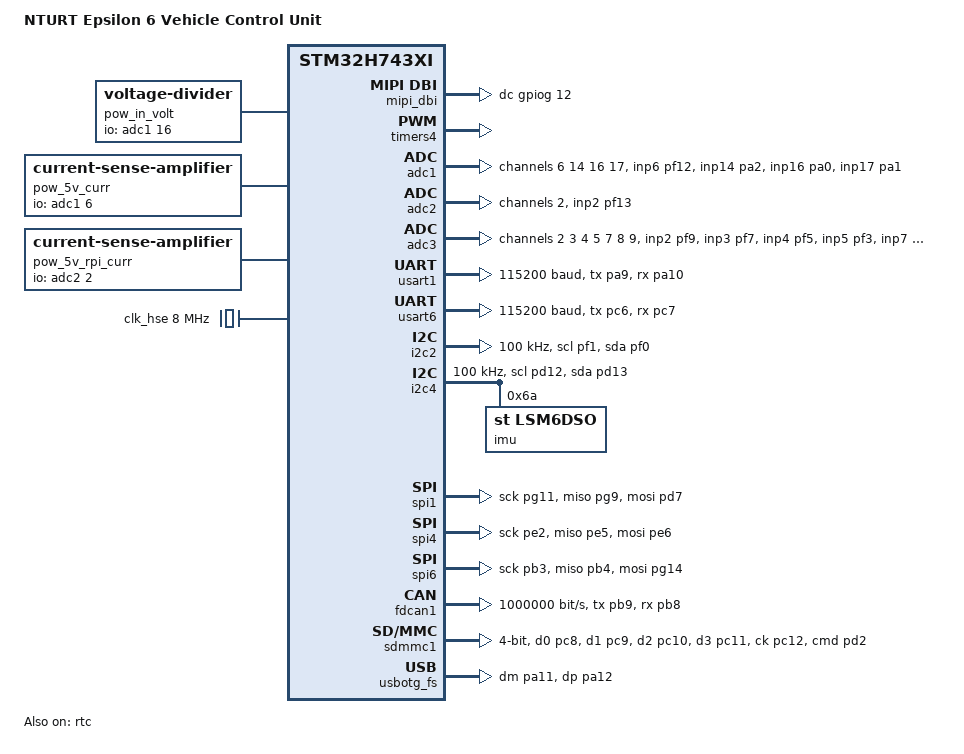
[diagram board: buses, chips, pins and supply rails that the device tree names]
/dts-v1/;
#include <st/h7/stm32h743Xi.dtsi>
#include <st/h7/stm32h743zitx-pinctrl.dtsi>
#include <zephyr/dt-bindings/input/input-event-codes.h>

/ {
    model = "NTURT Epsilon 6 Vehicle Control Unit";
    compatible = "nturt,ep6_vcu";

    chosen {
        zephyr,console = &usart1;
        zephyr,shell-uart = &usart1;
        // zephyr,console = &cdc_acm_uart0;
        // zephyr,shell-uart = &cdc_acm_uart0;
        zephyr,sram = &sram0;
        zephyr,flash = &flash0;
        zephyr,dtcm = &dtcm;
        zephyr,code-partition = &slot0_partition;
        zephyr,canbus = &fdcan1;
        zephyr,canopen-green-led = &canopen_green_led;
        zephyr,canopen-red-led = &canopen_red_led;

        nturt,rtc = &rtc;
        nturt,buzzer = &buzzer;
        nturt,brake-light = &brake_light;
        nturt,rtd-light = &rtd_light;
        nturt,imu = &imu;
        nturt,pow-in-volt = &pow_in_volt;
        nturt,pow-5v-curr = &pow_5v_curr;
        nturt,pow-5v-rpi-curr = &pow_5v_rpi_curr;
        nturt,pow-low = &pow_low;
    };

    aliases {
        led0 = &canopen_green_led;
    };

    mipi_dbi: mipi-dbi-spi {
        compatible = "zephyr,mipi-dbi-spi";
        spi-dev = <&spi1>;
        dc-gpios = <&gpiog 12 GPIO_ACTIVE_HIGH>;
        write-only;
        #address-cells = <1>;
        #size-cells = <0>;
    };

    // dummy only to expose node properties to the device tree
    dummy_leds: dummy-leds {
        compatible = "gpio-leds";
        status = "disabled";

        buzzer: buzzer {
            gpios = <&gpiof 2 GPIO_ACTIVE_HIGH>;
        };

        brake_light: brake-light {
            gpios = <&gpioa 7 GPIO_ACTIVE_HIGH>;
        };

        rtd_light: rtd-light {
            gpios = <&gpiod 9 GPIO_ACTIVE_HIGH>;
        };

        canopen_green_led: canopen-green-led {
            gpios = <&gpioe 0 (GPIO_ACTIVE_LOW | GPIO_OPEN_DRAIN)>;
        };

        canopen_red_led: canopen-red-led {
            gpios = <&gpioe 1 (GPIO_ACTIVE_LOW | GPIO_OPEN_DRAIN)>;
        };
    };

    // dummy only to expose node properties to the device tree
    dummy_buttons: dummy-buttons {
        compatible = "gpio-keys";
        status = "disabled";

        apps_micro: apps-micro {
            gpios = <&gpiof 10 (GPIO_ACTIVE_LOW | GPIO_PULL_UP)>;
            zephyr,code = <INPUT_KEY_0>;
        };

        pow_low: pow-low {
            gpios = <&gpioc 13 (GPIO_ACTIVE_LOW | GPIO_PULL_UP)>;
            zephyr,code = <INPUT_KEY_0>;
        };
    };

    pow_in_volt: pow-in-volt {
        compatible = "voltage-divider";
        io-channels = <&adc1 16>;
        full-ohms = <(49900 + 5600)>;
        output-ohms = <5600>;
    };

    pow_5v_curr: pow-5v-curr {
        compatible = "current-sense-amplifier";
        io-channels = <&adc1 6>;
        sense-resistor-milli-ohms = <10>;
        sense-gain-mult = <100>;
    };

    pow_5v_rpi_curr: pow-5v-rpi-curr {
        compatible = "current-sense-amplifier";
        io-channels = <&adc2 2>;
        sense-resistor-milli-ohms = <10>;
        sense-gain-mult = <100>;
    };

    otghs_ulpi_phy: otghs-ulpi-phy {
        compatible = "usb-ulpi-phy";
        #phy-cells = <0>;
        status = "disabled";
    };
};

// include here for them to reference the added nodes above
#include "dashboard.dtsi"
#include "sensors.dtsi"

&clk_lsi {
    status = "okay";
};

&clk_csi {
    status = "okay";
};

&clk_hsi48 {
    status = "okay";
};

&clk_hse {
    clock-frequency = <DT_FREQ_M(8)>;
    status = "okay";
};

&clk_lse {
    status = "okay";
};

&pll {
    div-m = <2>;
    mul-n = <240>;
    div-p = <2>;
    div-q = <20>;
    div-r = <2>;
    clocks = <&clk_hse>;
    status = "okay";
};

&pll2 {
    div-m = <2>;
    mul-n = <200>;
    div-p = <2>;
    div-q = <20>;
    div-r = <4>;
    clocks = <&clk_hse>;
    status = "okay";
};

&pll3 {
    div-m = <2>;
    mul-n = <128>;
    div-p = <8>;
    div-q = <8>;
    div-r = <8>;
    clocks = <&clk_hse>;
    status = "okay";
};

&rcc {
    clocks = <&pll>;
    clock-frequency = <DT_FREQ_M(480)>;
    d1cpre = <1>;
    hpre = <2>;
    d1ppre = <2>;
    d2ppre1 = <2>;
    d2ppre2 = <2>;
    d3ppre = <2>;
};

&backup_sram {
    status = "okay";
};

&flash0 {
    partitions {
        compatible = "fixed-partitions";
        #address-cells = <1>;
        #size-cells = <1>;

        // bootloader: 128KB
        boot_partition: partition@0 {
            label = "mcuboot";
            reg = <0x00000000 DT_SIZE_K(128)>;
            read-only;
        };

        // application image slot: 768KB
        slot0_partition: partition@20000 {
            label = "image-0";
            reg = <0x00020000 DT_SIZE_K(768)>;
        };

        // backup slot: 768KB
        slot1_partition: partition@100000 {
            label = "image-1";
            reg = <0x00100000 DT_SIZE_K(768)>;
        };

        // swap slot: 128KB
        scratch_partition: partition@1E0000 {
            label = "image-scratch";
            reg = <0x001e0000 DT_SIZE_K(128)>;
        };
    };
};

&dma1 {
    status = "okay";
};

&dma2 {
    status = "okay";
};

&dmamux1 {
    status = "okay";
};

// 16-bit APB1 timers at 240MHz, 10us resolution, 100 steps with 1ms period PWM
&timers4 {
    st,prescaler = <(2400 - 1)>;
    status = "okay";

    pwm4: pwm {
        pinctrl-0 = <&tim4_ch1_pb6 &tim4_ch2_pb7>;
        pinctrl-names = "default";
        status = "okay";
    };
};

&rtc {
    clocks = <&rcc STM32_CLOCK_BUS_APB4 0x00010000>,
             <&rcc STM32_SRC_LSE RTC_SEL(1)>;
    status = "okay";
};

// sync clock from PLL3_R at 64MHz, 4us sampling time with 4 oversampling
&adc1 {
    clocks = <&rcc STM32_CLOCK_BUS_AHB1 0x00000020>,
             <&rcc STM32_SRC_PLL3_R ADC_SEL(1)>;
    pinctrl-0 = <&adc1_inp6_pf12 &adc1_inp14_pa2 &adc1_inp16_pa0 &adc1_inp17_pa1>;
    pinctrl-names = "default";
    st,adc-clock-source = "SYNC";
    st,adc-prescaler = <4>;
    #address-cells = <1>;
    #size-cells = <0>;
    status = "okay";

    channel@6 {
        reg = <6>;
        zephyr,gain = "ADC_GAIN_1";
        zephyr,reference = "ADC_REF_INTERNAL";
        zephyr,acquisition-time = <ADC_ACQ_TIME(ADC_ACQ_TIME_TICKS, 65)>;
        zephyr,resolution = <16>;
        zephyr,oversampling = <2>;
    };

    channel@e {
        reg = <14>;
        zephyr,gain = "ADC_GAIN_1";
        zephyr,reference = "ADC_REF_INTERNAL";
        zephyr,acquisition-time = <ADC_ACQ_TIME(ADC_ACQ_TIME_TICKS, 65)>;
        zephyr,resolution = <16>;
        zephyr,oversampling = <2>;
    };

    channel@10 {
        reg = <16>;
        zephyr,gain = "ADC_GAIN_1";
        zephyr,reference = "ADC_REF_INTERNAL";
        zephyr,acquisition-time = <ADC_ACQ_TIME(ADC_ACQ_TIME_TICKS, 65)>;
        zephyr,resolution = <16>;
        zephyr,oversampling = <2>;
    };

    channel@11 {
        reg = <17>;
        zephyr,gain = "ADC_GAIN_1";
        zephyr,reference = "ADC_REF_INTERNAL";
        zephyr,acquisition-time = <ADC_ACQ_TIME(ADC_ACQ_TIME_TICKS, 65)>;
        zephyr,resolution = <16>;
        zephyr,oversampling = <2>;
    };
};

// sync clock from PLL3_R at 64MHz, 4us sampling time with 4 oversampling
&adc2 {
    clocks = <&rcc STM32_CLOCK_BUS_AHB1 0x00000020>,
             <&rcc STM32_SRC_PLL3_R ADC_SEL(1)>;
    pinctrl-0 = <&adc2_inp2_pf13>;
    pinctrl-names = "default";
    st,adc-clock-source = "SYNC";
    st,adc-prescaler = <4>;
    #address-cells = <1>;
    #size-cells = <0>;
    status = "okay";

    channel@2 {
        reg = <2>;
        zephyr,gain = "ADC_GAIN_1";
        zephyr,reference = "ADC_REF_INTERNAL";
        zephyr,acquisition-time = <ADC_ACQ_TIME(ADC_ACQ_TIME_TICKS, 65)>;
        zephyr,resolution = <16>;
        zephyr,oversampling = <2>;
    };
};

// sync clock from PLL3_R at 64MHz, 4us sampling time with 4 oversampling
&adc3 {
    clocks = <&rcc STM32_CLOCK_BUS_AHB4 0x01000000>,
             <&rcc STM32_SRC_PLL3_R ADC_SEL(1)>;
    pinctrl-0 = <&adc3_inp2_pf9 &adc3_inp3_pf7 &adc3_inp4_pf5 &adc3_inp5_pf3
                 &adc3_inp7_pf8 &adc3_inp8_pf6 &adc3_inp9_pf4>;
    pinctrl-names = "default";
    st,adc-clock-source = "SYNC";
    st,adc-prescaler = <4>;
    #address-cells = <1>;
    #size-cells = <0>;
    status = "okay";

    channel@2 {
        reg = <2>;
        zephyr,gain = "ADC_GAIN_1";
        zephyr,reference = "ADC_REF_INTERNAL";
        zephyr,acquisition-time = <ADC_ACQ_TIME(ADC_ACQ_TIME_TICKS, 65)>;
        zephyr,resolution = <16>;
        zephyr,oversampling = <2>;
    };

    channel@3 {
        reg = <3>;
        zephyr,gain = "ADC_GAIN_1";
        zephyr,reference = "ADC_REF_INTERNAL";
        zephyr,acquisition-time = <ADC_ACQ_TIME(ADC_ACQ_TIME_TICKS, 65)>;
        zephyr,resolution = <16>;
        zephyr,oversampling = <2>;
    };

    channel@4 {
        reg = <4>;
        zephyr,gain = "ADC_GAIN_1";
        zephyr,reference = "ADC_REF_INTERNAL";
        zephyr,acquisition-time = <ADC_ACQ_TIME(ADC_ACQ_TIME_TICKS, 65)>;
        zephyr,resolution = <16>;
        zephyr,oversampling = <2>;
    };

    channel@5 {
        reg = <5>;
        zephyr,gain = "ADC_GAIN_1";
        zephyr,reference = "ADC_REF_INTERNAL";
        zephyr,acquisition-time = <ADC_ACQ_TIME(ADC_ACQ_TIME_TICKS, 65)>;
        zephyr,resolution = <16>;
        zephyr,oversampling = <2>;
    };

    channel@7 {
        reg = <7>;
        zephyr,gain = "ADC_GAIN_1";
        zephyr,reference = "ADC_REF_INTERNAL";
        zephyr,acquisition-time = <ADC_ACQ_TIME(ADC_ACQ_TIME_TICKS, 65)>;
        zephyr,resolution = <16>;
        zephyr,oversampling = <2>;
    };

    channel@8 {
        reg = <8>;
        zephyr,gain = "ADC_GAIN_1";
        zephyr,reference = "ADC_REF_INTERNAL";
        zephyr,acquisition-time = <ADC_ACQ_TIME(ADC_ACQ_TIME_TICKS, 65)>;
        zephyr,resolution = <16>;
        zephyr,oversampling = <2>;
    };

    channel@9 {
        reg = <9>;
        zephyr,gain = "ADC_GAIN_1";
        zephyr,reference = "ADC_REF_INTERNAL";
        zephyr,acquisition-time = <ADC_ACQ_TIME(ADC_ACQ_TIME_TICKS, 65)>;
        zephyr,resolution = <16>;
        zephyr,oversampling = <2>;
    };
};

&usart1 {
    clocks = <&rcc STM32_CLOCK_BUS_APB2 0x00000010>,
             <&rcc STM32_SRC_PLL3_Q USART16_SEL(2)>;
    dmas = <&dmamux1 0 42 STM32_DMA_PERIPH_TX>,
           <&dmamux1 1 41 STM32_DMA_PERIPH_RX>;
    dma-names = "tx", "rx";
    pinctrl-0 = <&usart1_tx_pa9 &usart1_rx_pa10>;
    pinctrl-names = "default";
    current-speed = <115200>;
    status = "okay";
};

&usart6 {
    clocks = <&rcc STM32_CLOCK_BUS_APB2 0x00000020>,
             <&rcc STM32_SRC_PLL3_Q USART16_SEL(2)>;
    pinctrl-0 = <&usart6_tx_pc6 &usart6_rx_pc7>;
    pinctrl-names = "default";
    current-speed = <115200>;
    status = "okay";
};

&i2c2 {
    clocks = <&rcc STM32_CLOCK_BUS_APB1 0x00400000>,
             <&rcc STM32_SRC_PLL3_R I2C123_SEL(1)>;
    pinctrl-0 = <&i2c2_scl_pf1 &i2c2_sda_pf0>;
    pinctrl-names = "default";
    clock-frequency = <I2C_BITRATE_STANDARD>;
    status = "okay";
};

&i2c4 {
    clocks = <&rcc STM32_CLOCK_BUS_APB1 0x00400000>,
             <&rcc STM32_SRC_PLL3_R I2C4_SEL(1)>;
    pinctrl-0 = <&i2c4_scl_pd12 &i2c4_sda_pd13>;
    pinctrl-names = "default";
    clock-frequency = <I2C_BITRATE_STANDARD>;
    status = "okay";

    imu: lsm6dso@6a {
        compatible = "st,lsm6dso";
        reg = <0x6a>;
        accel-range = <2>; // 4g
        accel-odr = <4>; // 104Hz
        gyro-range = <0>; // 250dps
        gyro-odr = <4>; // 104Hz
    };
};

&spi1 {
    clocks = <&rcc STM32_CLOCK_BUS_APB2 0x00001000>,
             <&rcc STM32_SRC_PLL3_P SPI123_SEL(2)>;
    dmas = <&dmamux1 2 38 STM32_DMA_PERIPH_TX>,
           <&dmamux1 3 37 STM32_DMA_PERIPH_RX>;
    dma-names = "tx", "rx";
    pinctrl-0 = <&spi1_sck_pg11 &spi1_miso_pg9 &spi1_mosi_pd7>;
    pinctrl-names = "default";
    cs-gpios = <&gpiog 10 (GPIO_ACTIVE_LOW | GPIO_PULL_UP)>;
    status = "okay";
};

// does not use dma since the dma overhead is higher than the transfer time of
// 11 bytes
&spi4 {
    clocks = <&rcc STM32_CLOCK_BUS_APB2 0x00002000>,
             <&rcc STM32_SRC_PLL3_Q SPI45_SEL(2)>;
    pinctrl-0 = <&spi4_sck_pe2 &spi4_miso_pe5 &spi4_mosi_pe6>;
    pinctrl-names = "default";
    cs-gpios = <&gpioe 4 (GPIO_ACTIVE_LOW | GPIO_PULL_UP)>;
    status = "okay";
};

&spi6 {
    clocks = <&rcc STM32_CLOCK_BUS_APB4 0x00000020>,
             <&rcc STM32_SRC_PLL3_Q SPI6_SEL(2)>;
    pinctrl-0 = <&spi6_sck_pb3 &spi6_miso_pb4 &spi6_mosi_pg14>;
    pinctrl-names = "default";
    cs-gpios = <&gpiog 15 (GPIO_ACTIVE_LOW | GPIO_PULL_UP)>;
    status = "okay";
};

&fdcan1 {
    clocks = <&rcc STM32_CLOCK_BUS_APB1_2 0x00000100>,
             <&rcc STM32_SRC_PLL2_Q FDCAN_SEL(2)>;
    pinctrl-0 = <&fdcan1_tx_pb9 &fdcan1_rx_pb8>;
    pinctrl-names = "default";
    bitrate = <1000000>;
    sample-point = <800>;
    bitrate-data = <1000000>;
    sample-point-data = <800>;
    status = "okay";
};

&sdmmc1 {
    clocks = <&rcc STM32_CLOCK_BUS_AHB3 0x00010000>,
             <&rcc STM32_SRC_PLL1_Q SDMMC_SEL(0)>;
    pinctrl-0 = <&sdmmc1_d0_pc8 &sdmmc1_d1_pc9 &sdmmc1_d2_pc10 &sdmmc1_d3_pc11
                 &sdmmc1_ck_pc12 &sdmmc1_cmd_pd2>;
    pinctrl-names = "default";
    disk-name = "SD";
    bus-width = <4>;
    idma;
    status = "okay";
};

zephyr_udc0: &usbotg_fs {
    pinctrl-0 = <&usb_otg_fs_dm_pa11 &usb_otg_fs_dp_pa12>;
    pinctrl-names = "default";
    status = "okay";

    cdc_acm_uart0: cdc_acm_uart0 {
        compatible = "zephyr,cdc-acm-uart";
    };
};
